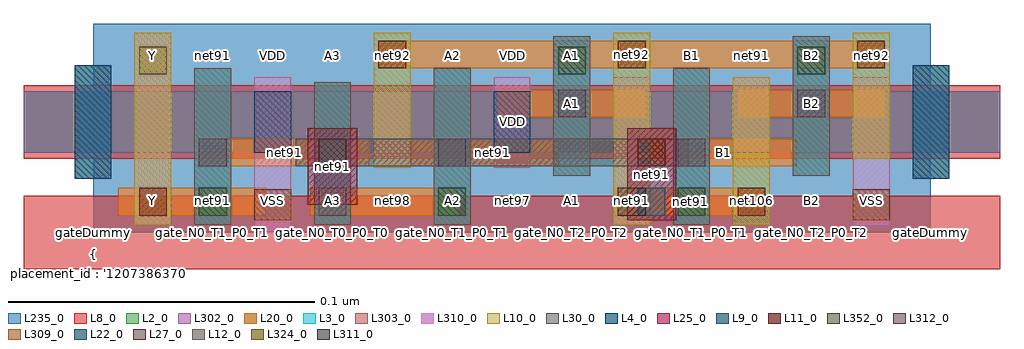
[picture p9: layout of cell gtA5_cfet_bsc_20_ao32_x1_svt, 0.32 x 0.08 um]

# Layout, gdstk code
import gdstk
lib = gdstk.Library(unit=1e-6, precision=2.5e-10)
def R(c, l, rs):  # rectangles x0, y0, x1, y1
    for r in rs: c.add(gdstk.rectangle(r[:2], r[2:], *l))
def A(c, l, x, y, w, h, nx, ny, dx, dy):  # array of equal rectangles
    R(c, l, [(x+i*dx, y+j*dy, x+i*dx+w, y+j*dy+h) for i in range(nx) for j in range(ny)])
L2_0 = (2, 0)
L3_0 = (3, 0)
L4_0 = (4, 0)
L8_0 = (8, 0)
L9_0 = (9, 0)
L10_0 = (10, 0)
L11_0 = (11, 0)
L12_0 = (12, 0)
L20_0 = (20, 0)
L22_0 = (22, 0)
L25_0 = (25, 0)
L27_0 = (27, 0)
L30_0 = (30, 0)
L235_0 = (235, 0)
L302_0 = (302, 0)
L303_0 = (303, 0)
L309_0 = (309, 0)
L310_0 = (310, 0)
L311_0 = (311, 0)
L312_0 = (312, 0)
L324_0 = (324, 0)
L352_0 = (352, 0)

gta5_cfet_bsc_20_ao32_x1 = lib.new_cell('gtA5_cfet_bsc_20_ao32_x1_svt')
R(gta5_cfet_bsc_20_ao32_x1, L2_0, [(-0.0225,0.026,0.2955,0.046)])
A(gta5_cfet_bsc_20_ao32_x1, L3_0, 0.033, 0.0025, 0.012, 0.051, 3, 1, 0.078, 0)
R(gta5_cfet_bsc_20_ao32_x1, L3_0, [(0.072,0.0025,0.084,0.049), (-0.006,0.0175,0.006,0.0545), (0.267,0.0175,0.279,0.0545), (0.15,0.0185,0.162,0.064), (0.228,0.0185,0.24,0.064)])
R(gta5_cfet_bsc_20_ao32_x1, L4_0, [(-0.006,0.0175,0.006,0.0545), (0.267,0.0175,0.279,0.0545)])
R(gta5_cfet_bsc_20_ao32_x1, L8_0, [(-0.0225,-0.012,0.2955,0.012), (-0.0225,0.024,0.2955,0.048)])
R(gta5_cfet_bsc_20_ao32_x1, L9_0, [(0.0525,0.026,0.0645,0.046), (0.1305,0.026,0.1425,0.046)])
R(gta5_cfet_bsc_20_ao32_x1, L10_0, [(0.0135,0.0025,0.0255,0.065), (0.1695,0.0025,0.1815,0.065), (0.2085,0.0025,0.2205,0.0505), (0.0915,0.021,0.1035,0.065), (0.2475,0.024,0.2595,0.065)])
A(gta5_cfet_bsc_20_ao32_x1, L11_0, 0.093, 0.0535, 0.009, 0.009, 3, 1, 0.078, 0)
R(gta5_cfet_bsc_20_ao32_x1, L11_0, [(0.015,0.0055,0.024,0.0145), (0.21,0.0055,0.219,0.0145)])
R(gta5_cfet_bsc_20_ao32_x1, L12_0, [(0.0735,0.0055,0.0825,0.0145)])
R(gta5_cfet_bsc_20_ao32_x1, L20_0, [(0.0083,0.0055,0.0563,0.0145), (0.0708,0.0055,0.1188,0.0145), (0.17,0.0055,0.219,0.0145), (0.0345,0.0215,0.09,0.0305), (0.1038,0.0215,0.1517,0.0305), (0.1812,0.0215,0.2293,0.0305), (0.132,0.0375,0.18,0.0465), (0.21,0.0375,0.258,0.0465), (0.093,0.0535,0.258,0.0625)])
R(gta5_cfet_bsc_20_ao32_x1, L22_0, [(0.1775,0.0055,0.1865,0.0145), (0.0735,0.0215,0.0825,0.0305)])
R(gta5_cfet_bsc_20_ao32_x1, L25_0, [(0.174,0.004,0.19,0.034), (0.07,0.009,0.086,0.034)])
R(gta5_cfet_bsc_20_ao32_x1, L27_0, [(0.0735,0.0215,0.0825,0.0305), (0.1775,0.0215,0.1865,0.0305)])
R(gta5_cfet_bsc_20_ao32_x1, L30_0, [(0.066,0.0215,0.194,0.0305)])
R(gta5_cfet_bsc_20_ao32_x1, L235_0, [(0,0,0.273,0.068)])
R(gta5_cfet_bsc_20_ao32_x1, L302_0, [(-0.0225,0.026,0.2955,0.046)])
A(gta5_cfet_bsc_20_ao32_x1, L303_0, 0.033, 0.0025, 0.012, 0.051, 3, 1, 0.078, 0)
R(gta5_cfet_bsc_20_ao32_x1, L303_0, [(0.072,0.0025,0.084,0.049), (-0.006,0.0175,0.006,0.0545), (0.267,0.0175,0.279,0.0545), (0.15,0.0185,0.162,0.064), (0.228,0.0185,0.24,0.064)])
R(gta5_cfet_bsc_20_ao32_x1, L309_0, [(0.0525,0.004,0.0645,0.014), (0.2475,0.004,0.2595,0.014)])
R(gta5_cfet_bsc_20_ao32_x1, L310_0, [(0.0525,0,0.0645,0.0505), (0.2475,0.002,0.2595,0.0505), (0.0135,0.0025,0.0255,0.065), (0.1695,0.0025,0.1815,0.0505), (0.0915,0.021,0.1035,0.046), (0.1305,0.021,0.1425,0.0505), (0.2085,0.026,0.2205,0.0505)])
R(gta5_cfet_bsc_20_ao32_x1, L311_0, [(0.171,0.0055,0.18,0.0145)])
A(gta5_cfet_bsc_20_ao32_x1, L312_0, 0.0345, 0.0215, 0.009, 0.009, 3, 1, 0.078, 0)
R(gta5_cfet_bsc_20_ao32_x1, L312_0, [(0.1515,0.0375,0.1605,0.0465), (0.2295,0.0375,0.2385,0.0465)])
R(gta5_cfet_bsc_20_ao32_x1, L324_0, [(0.015,0.0515,0.024,0.0605)])
A(gta5_cfet_bsc_20_ao32_x1, L352_0, 0.0345, 0.0055, 0.009, 0.009, 3, 1, 0.078, 0)
R(gta5_cfet_bsc_20_ao32_x1, L352_0, [(0.1515,0.0515,0.1605,0.0605), (0.2295,0.0515,0.2385,0.0605)])
gta5_cfet_bsc_20_ao32_x1.add(gdstk.Label('net91', (0.1945,0.01), layer=100, texttype=100))
gta5_cfet_bsc_20_ao32_x1.add(gdstk.Label('net91', (0.0622,0.026), layer=100, texttype=100))
gta5_cfet_bsc_20_ao32_x1.add(gdstk.Label('net92', (0.1755,0.058), layer=100, texttype=100))
gta5_cfet_bsc_20_ao32_x1.add(gdstk.Label('net91', (0.182,0.019), layer=101, texttype=101))
gta5_cfet_bsc_20_ao32_x1.add(gdstk.Label('net91', (0.078,0.0215), layer=101, texttype=101))
gta5_cfet_bsc_20_ao32_x1.add(gdstk.Label('net91', (0.13,0.026), layer=102, texttype=102))
gta5_cfet_bsc_20_ao32_x1.add(gdstk.Label('gateDummy', (0,0), layer=103, texttype=103))
gta5_cfet_bsc_20_ao32_x1.add(gdstk.Label('sd_N0_T0_P0_T0', (0.0195,0), layer=103, texttype=103))
gta5_cfet_bsc_20_ao32_x1.add(gdstk.Label('gate_N0_T1_P0_T1', (0.039,0), layer=103, texttype=103))
gta5_cfet_bsc_20_ao32_x1.add(gdstk.Label('sd_N0_VSS_P0_VDD', (0.0585,0), layer=103, texttype=103))
gta5_cfet_bsc_20_ao32_x1.add(gdstk.Label('gate_N0_T0_P0_T0', (0.078,0), layer=103, texttype=103))
gta5_cfet_bsc_20_ao32_x1.add(gdstk.Label('sd_N0_abut_P0_T3', (0.0975,0), layer=103, texttype=103))
gta5_cfet_bsc_20_ao32_x1.add(gdstk.Label('gate_N0_T1_P0_T1', (0.117,0), layer=103, texttype=103))
gta5_cfet_bsc_20_ao32_x1.add(gdstk.Label('sd_P0_VDD', (0.1365,0), layer=103, texttype=103))
gta5_cfet_bsc_20_ao32_x1.add(gdstk.Label('gate_N0_T2_P0_T2', (0.156,0), layer=103, texttype=103))
gta5_cfet_bsc_20_ao32_x1.add(gdstk.Label('sd_N0_T0_P0_T3', (0.1755,0), layer=103, texttype=103))
gta5_cfet_bsc_20_ao32_x1.add(gdstk.Label('gate_N0_T1_P0_T1', (0.195,0), layer=103, texttype=103))
gta5_cfet_bsc_20_ao32_x1.add(gdstk.Label('sd_N0_abut_P0_T0', (0.2145,0), layer=103, texttype=103))
gta5_cfet_bsc_20_ao32_x1.add(gdstk.Label('gate_N0_T2_P0_T2', (0.234,0), layer=103, texttype=103))
gta5_cfet_bsc_20_ao32_x1.add(gdstk.Label('sd_N0_VSS_P0_T3', (0.2535,0), layer=103, texttype=103))
gta5_cfet_bsc_20_ao32_x1.add(gdstk.Label('gateDummy', (0.273,0), layer=103, texttype=103))
gta5_cfet_bsc_20_ao32_x1.add(gdstk.Label('}', (0,-0.0742), layer=104, texttype=104))
gta5_cfet_bsc_20_ao32_x1.add(gdstk.Label('  power : None', (0,-0.0675), layer=104, texttype=104))
gta5_cfet_bsc_20_ao32_x1.add(gdstk.Label('  performance : None', (0,-0.0607), layer=104, texttype=104))
gta5_cfet_bsc_20_ao32_x1.add(gdstk.Label("  solution_hash : '4171773078089152526'", (0,-0.054), layer=104, texttype=104))
gta5_cfet_bsc_20_ao32_x1.add(gdstk.Label('  number_m2 : 1', (0,-0.0473), layer=104, texttype=104))
gta5_cfet_bsc_20_ao32_x1.add(gdstk.Label('  number_m1 : 2', (0,-0.0405), layer=104, texttype=104))
gta5_cfet_bsc_20_ao32_x1.add(gdstk.Label('  number_m0cuts : 0', (0,-0.0338), layer=104, texttype=104))
gta5_cfet_bsc_20_ao32_x1.add(gdstk.Label('  number_m0 : 9', (0,-0.027), layer=104, texttype=104))
gta5_cfet_bsc_20_ao32_x1.add(gdstk.Label("  solution_number : '0000'", (0,-0.0203), layer=104, texttype=104))
gta5_cfet_bsc_20_ao32_x1.add(gdstk.Label("  placement_id : '12073863708365354503'", (0,-0.0135), layer=104, texttype=104))
gta5_cfet_bsc_20_ao32_x1.add(gdstk.Label('{', (0,-0.0067), layer=104, texttype=104))
gta5_cfet_bsc_20_ao32_x1.add(gdstk.Label('Y', (0.0195,0.0103), layer=105, texttype=105))
gta5_cfet_bsc_20_ao32_x1.add(gdstk.Label('net91', (0.039,0.0103), layer=105, texttype=105))
gta5_cfet_bsc_20_ao32_x1.add(gdstk.Label('VSS', (0.0585,0.0103), layer=105, texttype=105))
gta5_cfet_bsc_20_ao32_x1.add(gdstk.Label('A3', (0.078,0.0103), layer=105, texttype=105))
gta5_cfet_bsc_20_ao32_x1.add(gdstk.Label('net98', (0.0975,0.0103), layer=105, texttype=105))
gta5_cfet_bsc_20_ao32_x1.add(gdstk.Label('A2', (0.117,0.0103), layer=105, texttype=105))
gta5_cfet_bsc_20_ao32_x1.add(gdstk.Label('net97', (0.1365,0.0103), layer=105, texttype=105))
gta5_cfet_bsc_20_ao32_x1.add(gdstk.Label('A1', (0.156,0.0103), layer=105, texttype=105))
gta5_cfet_bsc_20_ao32_x1.add(gdstk.Label('net91', (0.1755,0.0103), layer=105, texttype=105))
gta5_cfet_bsc_20_ao32_x1.add(gdstk.Label('B1', (0.195,0.0103), layer=105, texttype=105))
gta5_cfet_bsc_20_ao32_x1.add(gdstk.Label('net106', (0.2145,0.0103), layer=105, texttype=105))
gta5_cfet_bsc_20_ao32_x1.add(gdstk.Label('B2', (0.234,0.0103), layer=105, texttype=105))
gta5_cfet_bsc_20_ao32_x1.add(gdstk.Label('VSS', (0.2535,0.0103), layer=105, texttype=105))
gta5_cfet_bsc_20_ao32_x1.add(gdstk.Label('Y', (0.0195,0.0578), layer=105, texttype=105))
gta5_cfet_bsc_20_ao32_x1.add(gdstk.Label('net91', (0.039,0.0578), layer=105, texttype=105))
gta5_cfet_bsc_20_ao32_x1.add(gdstk.Label('VDD', (0.0585,0.0578), layer=105, texttype=105))
gta5_cfet_bsc_20_ao32_x1.add(gdstk.Label('A3', (0.078,0.0578), layer=105, texttype=105))
gta5_cfet_bsc_20_ao32_x1.add(gdstk.Label('net92', (0.0975,0.0578), layer=105, texttype=105))
gta5_cfet_bsc_20_ao32_x1.add(gdstk.Label('A2', (0.117,0.0578), layer=105, texttype=105))
gta5_cfet_bsc_20_ao32_x1.add(gdstk.Label('VDD', (0.1365,0.0578), layer=105, texttype=105))
gta5_cfet_bsc_20_ao32_x1.add(gdstk.Label('A1', (0.156,0.0578), layer=105, texttype=105))
gta5_cfet_bsc_20_ao32_x1.add(gdstk.Label('net92', (0.1755,0.0578), layer=105, texttype=105))
gta5_cfet_bsc_20_ao32_x1.add(gdstk.Label('B1', (0.195,0.0578), layer=105, texttype=105))
gta5_cfet_bsc_20_ao32_x1.add(gdstk.Label('net91', (0.2145,0.0578), layer=105, texttype=105))
gta5_cfet_bsc_20_ao32_x1.add(gdstk.Label('B2', (0.234,0.0578), layer=105, texttype=105))
gta5_cfet_bsc_20_ao32_x1.add(gdstk.Label('net92', (0.2535,0.0578), layer=105, texttype=105))
gta5_cfet_bsc_20_ao32_x1.add(gdstk.Label('VSS', (0.1365,0), layer=8, texttype=0))
gta5_cfet_bsc_20_ao32_x1.add(gdstk.Label('VDD', (0.1365,0.036), layer=8, texttype=0))
gta5_cfet_bsc_20_ao32_x1.add(gdstk.Label('Y', (0.0323,0.01), layer=20, texttype=251))
gta5_cfet_bsc_20_ao32_x1.add(gdstk.Label('A3', (0.0948,0.01), layer=20, texttype=251))
gta5_cfet_bsc_20_ao32_x1.add(gdstk.Label('A2', (0.1278,0.026), layer=20, texttype=251))
gta5_cfet_bsc_20_ao32_x1.add(gdstk.Label('B1', (0.2053,0.026), layer=20, texttype=251))
gta5_cfet_bsc_20_ao32_x1.add(gdstk.Label('A1', (0.156,0.042), layer=20, texttype=251))
gta5_cfet_bsc_20_ao32_x1.add(gdstk.Label('B2', (0.234,0.042), layer=20, texttype=251))
gta5_cfet_bsc_20_ao32_x1.add(gdstk.Label('gtA5_cfet_bsc_20nm_ao32_x1_rvt_0', (0,0), layer=235, texttype=0))

lib.write_gds('gtA5_cfet_bsc_20_ao32_x1_svt.gds')
